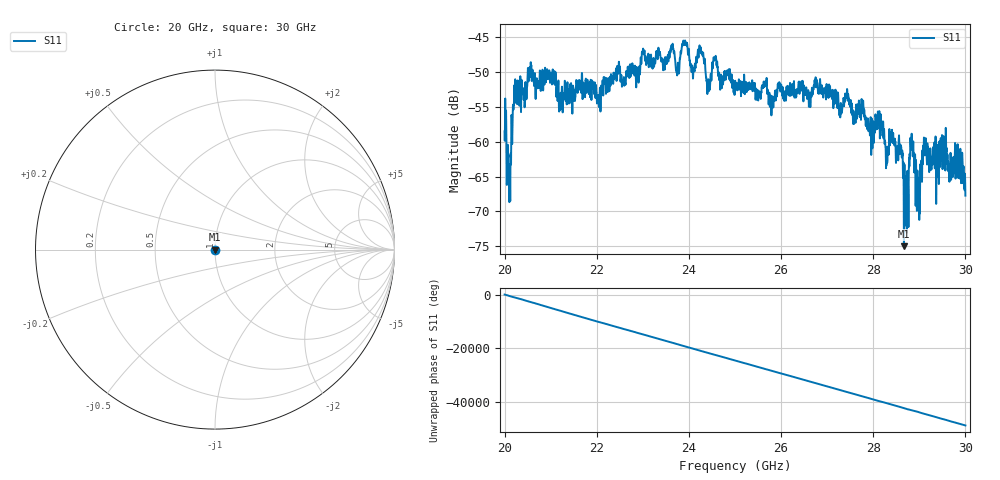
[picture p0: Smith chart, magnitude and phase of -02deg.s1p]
#  HZ  S  RI  R  50.00
! Rohde & Schwarz ZVA40 4Ports - Version 3.90 - 1145.1110k42 SN: 100403
! Date: 2023-10-03 10:17:25
! Measurement: S12
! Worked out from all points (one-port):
!   5001 points, 20 GHz to 30 GHz, reference 50 ohm
!   lowest |S11| = -75.0 dB at 28.67 GHz (marker M1), VSWR 1.00, Z = 50 - j0.0144 ohm
!   |S11| at or under -10 dB: start of sweep to end of sweep
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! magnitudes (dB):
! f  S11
! 20 GHz  -58.5
! 20.09 GHz  -63.9
! 20.22 GHz  -51.6
! 20.55 GHz  -49.7
! 21.25 GHz  -53.8
! 22.5 GHz  -49.4
! 23.63 GHz  -46.5
! 23.75 GHz  -50.1
! 23.92 GHz  -45.4
! 24.08 GHz  -49.5
! 24.27 GHz  -47.3
! 24.42 GHz  -51.4
! 24.57 GHz  -48.2
! 25 GHz  -52.0
! 26.25 GHz  -52.0
! 27.5 GHz  -54.7
! 28.14 GHz  -59.5
! 28.29 GHz  -62.0
! 28.42 GHz  -59.7
! 28.59 GHz  -60.6
! 28.67 GHz  -75.0
! 28.75 GHz  -65.6
! 28.83 GHz  -58.8
! 28.97 GHz  -66.0
! 29.11 GHz  -61.5
! 29.53 GHz  -62.0
! 29.85 GHz  -65.2
! 30 GHz  -67.8
